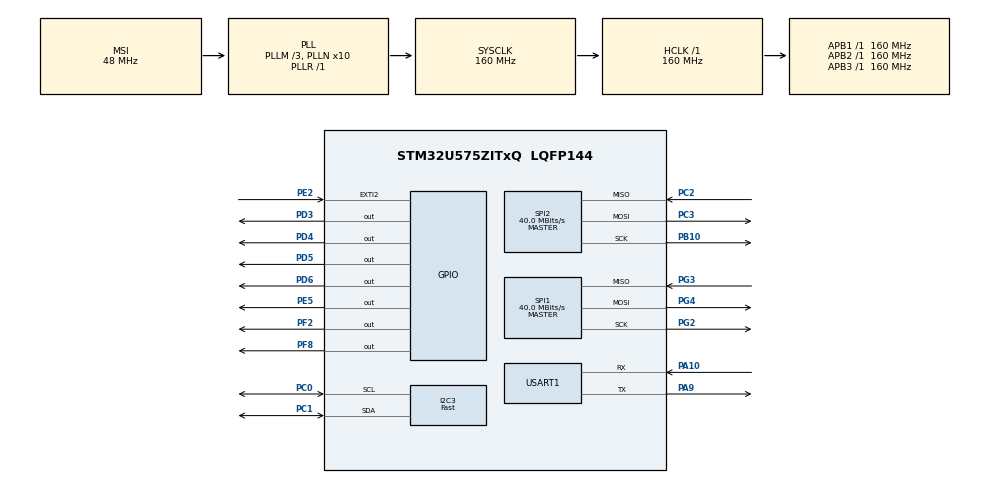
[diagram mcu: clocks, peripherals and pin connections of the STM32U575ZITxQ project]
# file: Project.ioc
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CORTEX_M33_NS.userName=CORTEX_M33
DMA2D.ColorMode=DMA2D_OUTPUT_RGB565
DMA2D.RedBlueSwapForeground=DMA2D_RB_REGULAR
GPDMA1.DESTDATAWIDTH_GPDMACH0=DMA_DEST_DATAWIDTH_BYTE
GPDMA1.DESTINC_GPDMACH0=DMA_DINC_FIXED
GPDMA1.DIRECTION_GPDMACH0=DMA_MEMORY_TO_PERIPH
GPDMA1.IPHANDLE_GPDMACH0-SIMPLEREQUEST_GPDMACH0=__NULL
GPDMA1.PRIORITY_GPDMACH0=DMA_LOW_PRIORITY_HIGH_WEIGHT
GPDMA1.REQUEST_GPDMACH0=GPDMA1_REQUEST_SPI2_TX
GPDMA1.SRCDATAWIDTH_GPDMACH0=DMA_SRC_DATAWIDTH_BYTE
GPDMA1.SRCINC_GPDMACH0=DMA_SINC_INCREMENTED
I2C3.I2C_Speed_Mode=I2C_Fast
I2C3.Timing=0x00F07BFF
Mcu.Family=STM32U5
Mcu.Name=STM32U575ZITxQ
Mcu.Package=LQFP144
NVIC.DMA2D_IRQn=true\:5\:0\:true\:false\:true\:true\:true\:true
NVIC.GPDMA1_Channel0_IRQn=true\:5\:0\:false\:false\:true\:false\:true\:true
NVIC.PriorityGroup=NVIC_PRIORITYGROUP_4
NVIC.SPI2_IRQn=true\:5\:0\:false\:false\:true\:false\:true\:true
NVIC.TIM6_IRQn=true\:15\:0\:false\:false\:true\:false\:true\:true
NVIC.TIM7_IRQn=true\:5\:0\:true\:false\:true\:true\:true\:true
NVIC.TimeBase=TIM6_IRQn
NVIC.TimeBaseIP=TIM6
PA10.Mode=Asynchronous
PA10.Signal=USART1_RX
PA9.Mode=Asynchronous
PA9.Signal=USART1_TX
PB10.GPIO_Speed=GPIO_SPEED_FREQ_HIGH
PB10.Mode=Full_Duplex_Master
PB10.Signal=SPI2_SCK
PC0.GPIO_Speed=GPIO_SPEED_FREQ_MEDIUM
PC0.Mode=I2C
PC0.Signal=I2C3_SCL
PC1.GPIO_Speed=GPIO_SPEED_FREQ_MEDIUM
PC1.Mode=I2C
PC1.Signal=I2C3_SDA
PC14-OSC32_IN\ (PC14).Mode=LSE-External-Oscillator
PC14-OSC32_IN\ (PC14).Signal=RCC_OSC32_IN
PC15-OSC32_OUT\ (PC15).Mode=LSE-External-Oscillator
PC15-OSC32_OUT\ (PC15).Signal=RCC_OSC32_OUT
PC2.GPIO_Speed=GPIO_SPEED_FREQ_HIGH
PC2.Mode=Full_Duplex_Master
PC2.Signal=SPI2_MISO
PC3.GPIO_Speed=GPIO_SPEED_FREQ_HIGH
PC3.Mode=Full_Duplex_Master
PC3.Signal=SPI2_MOSI
PD3.GPIO_Speed=GPIO_SPEED_FREQ_VERY_HIGH
PD3.PinState=GPIO_PIN_SET
PD3.Signal=GPIO_Output
PD4.GPIO_ModeDefaultOutputPP=GPIO_MODE_OUTPUT_PP
PD4.GPIO_PuPd=GPIO_NOPULL
PD4.GPIO_Speed=GPIO_SPEED_FREQ_HIGH
PD4.PinState=GPIO_PIN_RESET
PD4.Signal=GPIO_Output
PD5.GPIO_Speed=GPIO_SPEED_FREQ_HIGH
PD5.PinState=GPIO_PIN_SET
PD5.Signal=GPIO_Output
PD6.GPIO_Speed=GPIO_SPEED_FREQ_HIGH
PD6.PinState=GPIO_PIN_SET
PD6.Signal=GPIO_Output
PE2.GPIO_ModeDefaultEXTI=GPIO_MODE_IT_FALLING
PE2.GPIO_PuPd=GPIO_PULLUP
PE2.Signal=GPXTI2
PE5.GPIO_ModeDefaultOutputPP=GPIO_MODE_OUTPUT_OD
PE5.GPIO_PuPd=GPIO_PULLUP
PE5.GPIO_Speed=GPIO_SPEED_FREQ_HIGH
PE5.PinState=GPIO_PIN_SET
PE5.Signal=GPIO_Output
PF2.GPIO_Speed=GPIO_SPEED_FREQ_HIGH
PF2.PinState=GPIO_PIN_SET
PF2.Signal=GPIO_Output
PF8.GPIO_Speed=GPIO_SPEED_FREQ_HIGH
PF8.PinState=GPIO_PIN_SET
PF8.Signal=GPIO_Output
PG2.GPIO_Speed=GPIO_SPEED_FREQ_VERY_HIGH
PG2.Mode=Full_Duplex_Master
PG2.Signal=SPI1_SCK
PG3.GPIO_Speed=GPIO_SPEED_FREQ_VERY_HIGH
PG3.Mode=Full_Duplex_Master
PG3.Signal=SPI1_MISO
PG4.GPIO_Speed=GPIO_SPEED_FREQ_VERY_HIGH
PG4.Mode=Full_Duplex_Master
PG4.Signal=SPI1_MOSI
PH0-OSC_IN\ (PH0).Mode=HSE-External-Oscillator
PH0-OSC_IN\ (PH0).Signal=RCC_OSC_IN
PH1-OSC_OUT\ (PH1).Mode=HSE-External-Oscillator
PH1-OSC_OUT\ (PH1).Signal=RCC_OSC_OUT
ProjectManager.HeapSize=0x2000
ProjectManager.StackSize=0x4000
ProjectManager.TargetToolchain=MDK-ARM V5.39
RCC.ADCFreq_Value=16000000
RCC.AHBFreq_Value=160000000
RCC.APB1Freq_Value=160000000
RCC.APB1TimFreq_Value=160000000
RCC.APB2Freq_Value=160000000
RCC.APB2TimFreq_Value=160000000
RCC.APB3Freq_Value=160000000
RCC.CortexFreq_Value=160000000
RCC.EPOD_VALUE=48000000
RCC.HCLKFreq_Value=160000000
RCC.HSE_VALUE=16000000
RCC.HSI48_VALUE=48000000
RCC.HSI_VALUE=16000000
RCC.LSIDIV_VALUE=32000
RCC.MSIClockRange=RCC_MSIRANGE_0
RCC.MSIKClockRange=RCC_MSIKRANGE_2
RCC.MSI_VALUE=48000000
RCC.PLL1R=1
RCC.PLL2FRACN=0
RCC.PLL3FRACN=0
RCC.PLLFRACN=0
RCC.PLLM=3
RCC.PLLN=10
RCC.SYSCLKFreq_VALUE=160000000
RCC.SYSCLKSource=RCC_SYSCLKSOURCE_PLLCLK
RCC.USBFreq_Value=48000000
RCC.VCOOutputFreq_Value=160000000
SPI1.BaudRatePrescaler=SPI_BAUDRATEPRESCALER_4
SPI1.CalculateBaudRate=40.0 MBits/s
SPI1.DataSize=SPI_DATASIZE_8BIT
SPI1.Direction=SPI_DIRECTION_2LINES
SPI1.Mode=SPI_MODE_MASTER
SPI1.VirtualType=VM_MASTER
SPI2.BaudRatePrescaler=SPI_BAUDRATEPRESCALER_4
SPI2.CLKPhase=SPI_PHASE_2EDGE
SPI2.CLKPolarity=SPI_POLARITY_HIGH
SPI2.CalculateBaudRate=40.0 MBits/s
SPI2.DataSize=SPI_DATASIZE_8BIT
SPI2.Direction=SPI_DIRECTION_2LINES
SPI2.Mode=SPI_MODE_MASTER
SPI2.VirtualType=VM_MASTER
STMicroelectronics.X-CUBE-FREERTOS.1.3.1.configUSE_TICK_HOOK=1
TIM7.PeriodNoDither=1000-1
TIM7.Prescaler=160-1
USART1.VirtualMode-Asynchronous=VM_ASYNC
VP_DMA2D_VS_DMA2D.Mode=DMA2D_Activate
VP_GPDMA1_VS_GPDMACH0.Mode=SIMPLEREQUEST_GPDMACH0
VP_LPBAMQUEUE_VS_QUEUE.Mode=QUEUEMODE
VP_LPBAM_VS_SIG1.Mode=SmartRun
VP_LPBAM_VS_SIG4.Mode=LPDMA1
VP_MEMORYMAP_VS_MEMORYMAP.Mode=CurAppReg
VP_PWR_VS_SECSignals.Mode=Security/Privilege
VP_SYS_VS_tim6.Mode=TIM6
VP_TIM7_VS_ClockSourceINT.Mode=Enable_Timer
board=custom

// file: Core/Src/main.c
/* USER CODE BEGIN Header */
/**
  ******************************************************************************
  * @file           : main.c
  * @brief          : Main program body
  ******************************************************************************
  * @attention
  *
  * Copyright (c) 2026 STMicroelectronics.
  * All rights reserved.
  *
  * This software is licensed under terms that can be found in the LICENSE file
  * in the root directory of this software component.
  * If no LICENSE file comes with this software, it is provided AS-IS.
  *
  ******************************************************************************
  */
/* USER CODE END Header */
#include "main.h"
#include "dma2d.h"
#include "gpdma.h"
#include "i2c.h"
#include "spi.h"
#include "tim.h"
#include "usart.h"
#include "gpio.h"

/* USER CODE BEGIN Includes */
#include "lvgl.h"
#include "lv_port_disp.h"
#include "lv_port_indev.h"
#include "ui.h"
#include "app_freertos.h"  /* Task_Init：创建全部应用任务 */
#include "FreeRTOS.h"      /* configTOTAL_HEAP_SIZE 等 */
#include "task.h"          /* vTaskStartScheduler 的真身 */
#include <stdio.h>         /* printf → USART1 的重定向在下面 USER CODE 4 里 */
/* USER CODE END Includes */

void SystemClock_Config(void);

int main(void)
{

  /* MCU Configuration--------------------------------------------------------*/

  /* Reset of all peripherals, Initializes the Flash interface and the Systick. */
  HAL_Init();

  /* Configure the system clock */
  SystemClock_Config();

  /* Initialize all configured peripherals */
  MX_GPIO_Init();
  MX_GPDMA1_Init();
  MX_I2C3_Init();
  MX_SPI2_Init();
  MX_SPI1_Init();
  MX_USART1_UART_Init();
  MX_TIM7_Init();
  MX_DMA2D_Init();
  /* USER CODE BEGIN 2 */

  /* ① LVGL 内核 */
  lv_init();

  /* ② 先把 tick 源开起来：TIM7 = 160MHz/160/1000 = 1kHz，1ms 一次中断 */
  HAL_TIM_Base_Start_IT(&htim7);

  /* ③ 显示：ST7789 240x320 @ SPI2 + GPDMA1（硬复位、初始化表都在驱动里） */
  lv_port_disp_init();

  /* ④ 输入：FT6336U 电容触摸 */
  lv_port_indev_init();

  /* ⑤ 界面（实现在 ui.c） */
  ui_init();
  /* USER CODE END 2 */

  /* Infinite loop */
  /* USER CODE BEGIN WHILE */

  /* 上面全是初始化（外设 / LVGL / 显示 / 输入 / 界面），从这两行起交给操作系统。
   *
   * ① Task_Init()：把 lcdflsh / lvgl 两个任务建出来。此时调度器还没跑，
   *    所以谁先建谁后建**不影响谁先跑** —— 决定执行顺序的是优先级，
   *    见 App/app_freertos.c。
   * ② vTaskStartScheduler()：点着调度器。它会按 configCPU_CLOCK_HZ 配好 SysTick、
   *    把 SVC/PendSV 压到最低优先级（configKERNEL_INTERRUPT_PRIORITY），
   *    然后切到 PSP、跳到优先级最高的就绪任务。
   *
   * **第②句正常不返回** —— 控制流从这一刻起就在各个任务之间转，
   * 主循环是 App/lvgl/task_lvgl.c 任务体里的那个 for(;;)。 */
  Task_Init();
  vTaskStartScheduler();

  /* 能从上面返回只有一种可能：堆不够，连 IDLE 任务都建不出来
   * （configTOTAL_HEAP_SIZE，见 freertos/inc/FreeRTOSConfig.h）。
   * Error_Handler() 会关中断死循环 —— 屏幕冻住，比带着坏状态乱跑好查。
   *
   * 下面这个 while(1) 是 CubeMX 生成的壳，永远到不了，
   * 留着只是为了不改动生成区的结构。 */
  while (1)
  {
    /* USER CODE END WHILE */

    /* USER CODE BEGIN 3 */
    Error_Handler();
  }
  /* USER CODE END 3 */
}

void SystemClock_Config(void)
{
  RCC_OscInitTypeDef RCC_OscInitStruct = {0};
  RCC_ClkInitTypeDef RCC_ClkInitStruct = {0};

  /** Configure the main internal regulator output voltage
  */
  if (HAL_PWREx_ControlVoltageScaling(PWR_REGULATOR_VOLTAGE_SCALE1) != HAL_OK)
  {
    Error_Handler();
  }

  /** Initializes the CPU, AHB and APB buses clocks
  */
  RCC_OscInitStruct.OscillatorType = RCC_OSCILLATORTYPE_MSI;
  RCC_OscInitStruct.MSIState = RCC_MSI_ON;
  RCC_OscInitStruct.MSICalibrationValue = RCC_MSICALIBRATION_DEFAULT;
  RCC_OscInitStruct.MSIClockRange = RCC_MSIRANGE_0;
  RCC_OscInitStruct.PLL.PLLState = RCC_PLL_ON;
  RCC_OscInitStruct.PLL.PLLSource = RCC_PLLSOURCE_MSI;
  RCC_OscInitStruct.PLL.PLLMBOOST = RCC_PLLMBOOST_DIV4;
  RCC_OscInitStruct.PLL.PLLM = 3;
  RCC_OscInitStruct.PLL.PLLN = 10;
  RCC_OscInitStruct.PLL.PLLP = 2;
  RCC_OscInitStruct.PLL.PLLQ = 2;
  RCC_OscInitStruct.PLL.PLLR = 1;
  RCC_OscInitStruct.PLL.PLLRGE = RCC_PLLVCIRANGE_1;
  RCC_OscInitStruct.PLL.PLLFRACN = 0;
  if (HAL_RCC_OscConfig(&RCC_OscInitStruct) != HAL_OK)
  {
    Error_Handler();
  }

  /** Initializes the CPU, AHB and APB buses clocks
  */
  RCC_ClkInitStruct.ClockType = RCC_CLOCKTYPE_HCLK|RCC_CLOCKTYPE_SYSCLK
                              |RCC_CLOCKTYPE_PCLK1|RCC_CLOCKTYPE_PCLK2
                              |RCC_CLOCKTYPE_PCLK3;
  RCC_ClkInitStruct.SYSCLKSource = RCC_SYSCLKSOURCE_PLLCLK;
  RCC_ClkInitStruct.AHBCLKDivider = RCC_SYSCLK_DIV1;
  RCC_ClkInitStruct.APB1CLKDivider = RCC_HCLK_DIV1;
  RCC_ClkInitStruct.APB2CLKDivider = RCC_HCLK_DIV1;
  RCC_ClkInitStruct.APB3CLKDivider = RCC_HCLK_DIV1;

  if (HAL_RCC_ClockConfig(&RCC_ClkInitStruct, FLASH_LATENCY_4) != HAL_OK)
  {
    Error_Handler();
  }
}

/* USER CODE BEGIN 4 */

/* ==================== printf 重定向到 USART1（115200,8N1） ====================
 *
 * 【为什么这么短】
 * 本工程没勾 Use MicroLIB（useUlib=0），printf 的字符出口就是 fputc()，
 * 所以真正算得上“重定向”的只有 fputc 一个函数，其余全是库要求的空壳。
 *
 * 【为什么 8 个 _sys_* 一个都不能少】
 * 只要有**一处** printf，链接器就会为了 _initio() 把库里的 sys_io.o 拉进来，
 * 而 sys_io.o 里那 8 个 _sys_* 是一次性全给的 —— 你只接管其中几个，剩下的
 * 照样跟着进来，直接 L6200E 重复定义。实测过：只给 fputc + _sys_exit + _ttywrch，
 * 报 L6915E: _sys_open was referenced；再补上 _sys_open，又变成
 * L6200E: _sys_open multiply defined (by sys_io.o and main.o)。
 * 所以：要么全接管，要么一个都别接管。
 *
 * 【__use_no_semihosting 是保险丝，不是装饰】
 * 它是给链接器的硬约束：库里那个带 BKPT #0xab 的半主机版本一旦被链进来，
 * 链接阶段就报 L6915E 并把函数名点出来 —— 而不是编出一个上电就死的镜像。
 * 那句 __asm 是 AC6 下的标准写法（AC5 的 #pragma import(__use_no_semihosting)
 * 在 AC6 里已经不能用，网上抄来的写法大多是 AC5 的）。
 * 没有它的话，漏接管一个 _sys_* 的后果是：sys_io.o 静默进镜像，
 * __rt_lib_init → _initio() 在 main() 之前执行到 BKPT，板子上没挂调试器，
 * CPU 直接被带走 —— 症状是**全黑屏、一句代码都不执行**，而屏是本工程
 * 唯一的诊断通道，黑屏会把别的问题一起盖住。
 *
 * 【不用 printf 的时候它占多少】
 * 零。整条 stdio 链（_initio / sys_io / 格式化代码）都是链接器按需拉的，
 * 全工程没有 printf 调用点时一个字节都不进镜像。
 * 但只要谁哪天写了一句 printf，这套东西立刻开始干活。 */

__asm(".global __use_no_semihosting\n");

/* printf 的字符出口 */
int fputc(int ch, FILE *f)
{
  (void)f;
  HAL_UART_Transmit(&huart1, (uint8_t *)&ch, 1, 100);
  return ch;
}

/* ---- 下面是库要求的空壳，签名一个都不能改 ---- */
int  _sys_open(const char *name, int openmode)                  { (void)name; (void)openmode; return 1; }  /* “:tt” 一律当开成功 */
int  _sys_close(int handle)                                     { (void)handle; return 0; }
int  _sys_write(int handle, const unsigned char *buf, unsigned len, int mode)
{
  (void)handle; (void)mode;
  if (buf != NULL && len != 0U) { HAL_UART_Transmit(&huart1, (uint8_t *)buf, (uint16_t)len, 100); }
  return 0;                                                                                               /* 只有 fwrite 走这里 */
}
int  _sys_read (int handle, unsigned char *buf, unsigned len, int mode) { (void)handle; (void)buf; (void)len; (void)mode; return 0; }
int  _sys_istty(int handle)                                     { (void)handle; return 1; }               /* 三个标准流都当终端 */
int  _sys_seek (int handle, long pos)                           { (void)handle; (void)pos; return 0; }
int  _sys_flen (int handle)                                     { (void)handle; return 0; }
int  _sys_tmpnam(char *name, int fileno, unsigned maxlength)    { (void)name; (void)fileno; (void)maxlength; return 0; }
void _ttywrch(int ch)                                           { (void)ch; }                             /* 调试器控制台 */
void _sys_exit(int return_code)                                 { (void)return_code; for (;;) { } }       /* 裸机没地方可退，停住 */

/* 注意：不要在这个文件里再定义 HAL_TIM_PeriodElapsedCallback。
 * CubeMX 的 Timebase Source 选的是 TIM6（不是 SysTick），所以它在**本文件末尾**
 * 已经生成了一个用于 HAL_IncTick() 的回调，TIM7 的 LVGL tick 也并在那一个里。
 * HAL 的这个回调是 __weak 的，全工程只允许有一个强定义，重复定义会编译报错。 */

/* USER CODE END 4 */

void HAL_TIM_PeriodElapsedCallback(TIM_HandleTypeDef *htim)
{
  if (htim->Instance == TIM6)
  {
    HAL_IncTick();
  }
  /* USER CODE BEGIN Callback 1 */
  /* TIM7 周期中断：每 1ms 给 LVGL 喂一个 tick。
   * TIM6 = HAL 时基（uwTick / HAL_Delay / HAL_GetTick）
   * TIM7 = LVGL 时基（lv_tick_inc）
   * 两者共用同一个 HAL 回调，所以必须合并成一个、按 Instance 分派。 */
  if (htim->Instance == TIM7)
  {
    lv_tick_inc(1);
  }
  /* USER CODE END Callback 1 */
}

void Error_Handler(void)
{
  __disable_irq();
  while (1)
  {
  }
}
